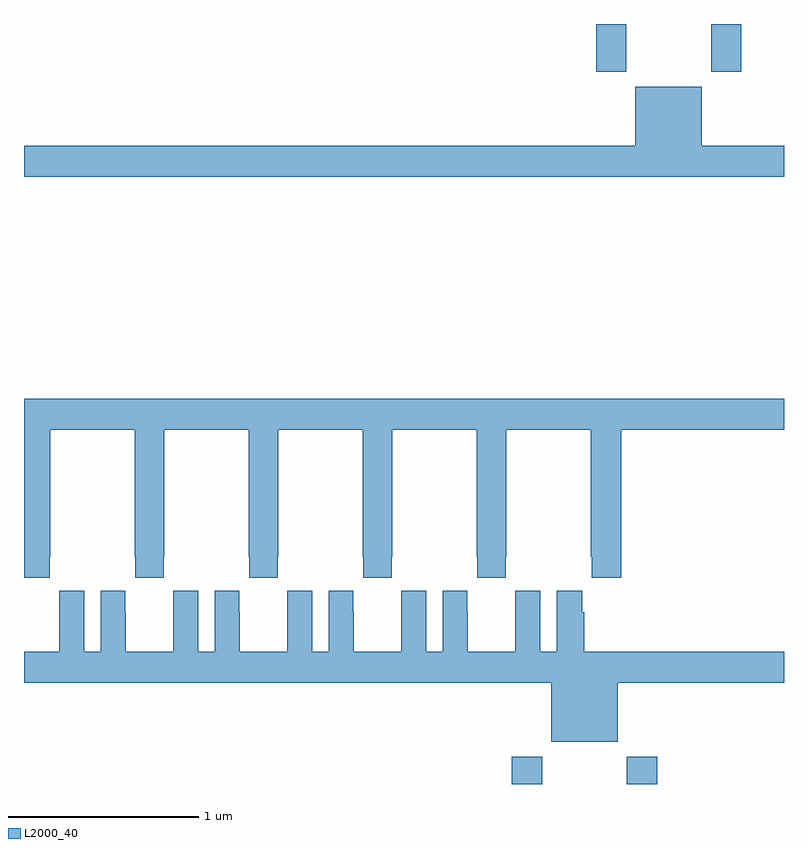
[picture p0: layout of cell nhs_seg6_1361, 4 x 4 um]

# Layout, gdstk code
import gdstk
lib = gdstk.Library(unit=1e-6, precision=1e-09)
def R(c, l, rs):  # rectangles x0, y0, x1, y1
    for r in rs: c.add(gdstk.rectangle(r[:2], r[2:], *l))
def P(c, l, *ps):  # polygons
    for p in ps: c.add(gdstk.Polygon(p, *l))
L2000_40 = (2000, 40)

nhs_seg6_1361 = lib.new_cell('nhs_seg6_1361')
R(nhs_seg6_1361, L2000_40, [(197.567,917.5,197.727,917.644), (198.172,917.5,198.332,917.644), (198.011,921.249,198.171,921.5), (198.616,921.249,198.776,921.5)])
P(nhs_seg6_1361, L2000_40, [(199,920.86),(198.568,920.86),(198.568,921.169),(198.218,921.169),(198.218,920.86),(195,920.86),(195,920.696),(199,920.696)],
  [(195.135,918.697),(195.138,918.697),(195.138,919.364),(195.583,919.364),(195.583,918.697),(195.585,918.697),(195.585,918.585),(195.735,918.585),(195.735,918.697),(195.738,918.697),(195.738,919.364),(196.183,919.364),(196.183,918.697),(196.185,918.697),(196.185,918.585),(196.335,918.585),(196.335,918.697),(196.338,918.697),(196.338,919.364),(196.783,919.364),(196.783,918.697),(196.785,918.697),(196.785,918.585),(196.935,918.585),(196.935,918.697),(196.938,918.697),(196.938,919.364),(197.383,919.364),(197.383,918.697),(197.385,918.697),(197.385,918.585),(197.535,918.585),(197.535,918.697),(197.538,918.697),(197.538,919.364),(197.983,919.364),(197.983,918.697),(197.989,918.697),(197.989,918.585),(198.143,918.585),(198.143,919.364),(199,919.364),(199,919.528),(195,919.528),(195,918.585),(195.135,918.585)],
  [(197.774,917.723),(198.124,917.723),(198.124,918.032),(199,918.032),(199,918.196),(197.948,918.196),(197.948,918.404),(197.938,918.404),(197.938,918.517),(197.804,918.517),(197.804,918.196),(197.716,918.196),(197.716,918.517),(197.586,918.517),(197.586,918.404),(197.585,918.404),(197.585,918.196),(197.335,918.196),(197.335,918.404),(197.334,918.404),(197.334,918.517),(197.204,918.517),(197.204,918.196),(197.116,918.196),(197.116,918.517),(196.986,918.517),(196.986,918.404),(196.985,918.404),(196.985,918.196),(196.735,918.196),(196.735,918.404),(196.734,918.404),(196.734,918.517),(196.604,918.517),(196.604,918.196),(196.516,918.196),(196.516,918.517),(196.386,918.517),(196.386,918.404),(196.385,918.404),(196.385,918.196),(196.135,918.196),(196.135,918.404),(196.134,918.404),(196.134,918.517),(196.004,918.517),(196.004,918.196),(195.916,918.196),(195.916,918.517),(195.786,918.517),(195.786,918.404),(195.785,918.404),(195.785,918.196),(195.535,918.196),(195.535,918.404),(195.534,918.404),(195.534,918.517),(195.404,918.517),(195.404,918.196),(195.316,918.196),(195.316,918.517),(195.186,918.517),(195.186,918.404),(195.185,918.404),(195.185,918.196),(195,918.196),(195,918.032),(197.774,918.032)])

lib.write_gds('nhs_seg6_1361.gds')
